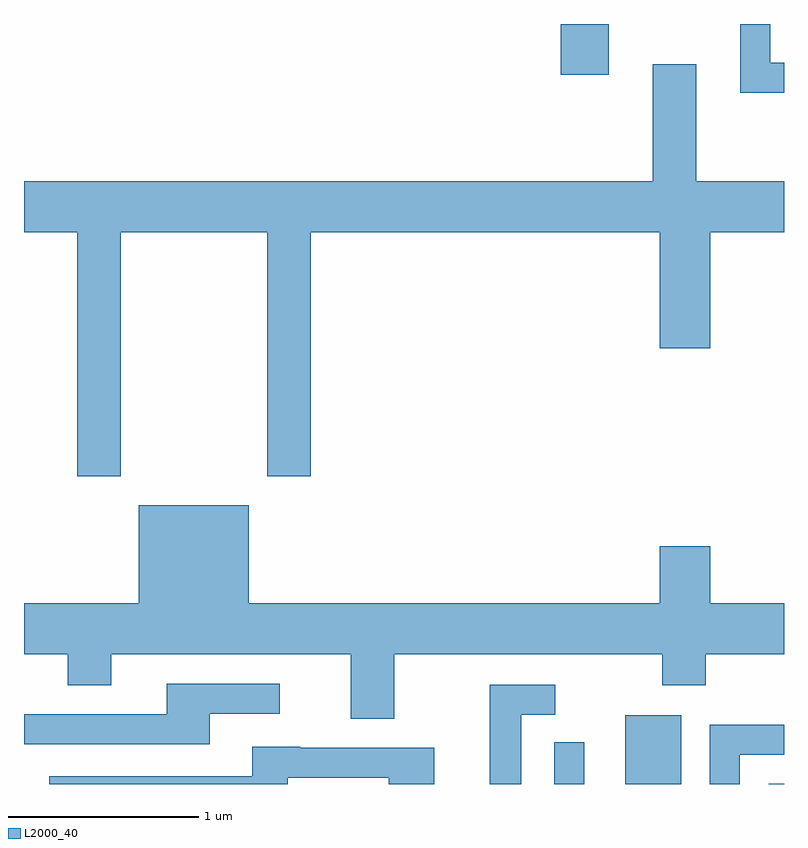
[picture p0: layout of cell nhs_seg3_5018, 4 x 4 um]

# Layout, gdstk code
import gdstk
lib = gdstk.Library(unit=1e-6, precision=1e-09)
def R(c, l, rs):  # rectangles x0, y0, x1, y1
    for r in rs: c.add(gdstk.rectangle(r[:2], r[2:], *l))
def P(c, l, *ps):  # polygons
    for p in ps: c.add(gdstk.Polygon(p, *l))
L2000_40 = (2000, 40)

nhs_seg3_5018 = lib.new_cell('nhs_seg3_5018')
R(nhs_seg3_5018, L2000_40, [(334.401,1231.892,334.559,1232.113), (334.776,1231.892,335.069,1232.254), (335.531,1231.892,335.611,1231.894), (334.436,1235.626,334.689,1235.892)])
P(nhs_seg3_5018, L2000_40, [(335.611,1235.689),(335.539,1235.689),(335.539,1235.892),(335.381,1235.892),(335.381,1235.531),(335.611,1235.531)],
  [(332.119,1234.796),(332.891,1234.796),(332.891,1233.511),(333.119,1233.511),(333.119,1234.796),(334.956,1234.796),(334.956,1234.186),(335.224,1234.186),(335.224,1234.796),(335.611,1234.796),(335.611,1235.064),(335.149,1235.064),(335.149,1235.679),(334.921,1235.679),(334.921,1235.064),(331.611,1235.064),(331.611,1234.796),(331.891,1234.796),(331.891,1233.511),(332.119,1233.511)],
  [(333.559,1232.576),(334.971,1232.576),(334.971,1232.411),(335.199,1232.411),(335.199,1232.576),(335.611,1232.576),(335.611,1232.844),(335.224,1232.844),(335.224,1233.144),(334.956,1233.144),(334.956,1232.844),(332.794,1232.844),(332.794,1233.359),(332.216,1233.359),(332.216,1232.844),(331.611,1232.844),(331.611,1232.576),(331.841,1232.576),(331.841,1232.411),(332.069,1232.411),(332.069,1232.576),(333.331,1232.576),(333.331,1232.236),(333.559,1232.236)],
  [(332.589,1232.261),(332.958,1232.261),(332.958,1232.419),(332.361,1232.419),(332.361,1232.259),(331.611,1232.259),(331.611,1232.101),(332.589,1232.101)],
  [(334.229,1232.256),(334.408,1232.256),(334.408,1232.414),(334.061,1232.414),(334.061,1231.892),(334.229,1231.892)],
  [(335.379,1232.046),(335.611,1232.046),(335.611,1232.204),(335.221,1232.204),(335.221,1231.892),(335.379,1231.892)],
  [(332.999,1231.926),(333.531,1231.926),(333.531,1231.892),(333.769,1231.892),(333.769,1232.084),(333.065,1232.084),(333.065,1232.089),(332.811,1232.089),(332.811,1231.934),(331.743,1231.934),(331.743,1231.892),(332.999,1231.892)])

lib.write_gds('nhs_seg3_5018.gds')
